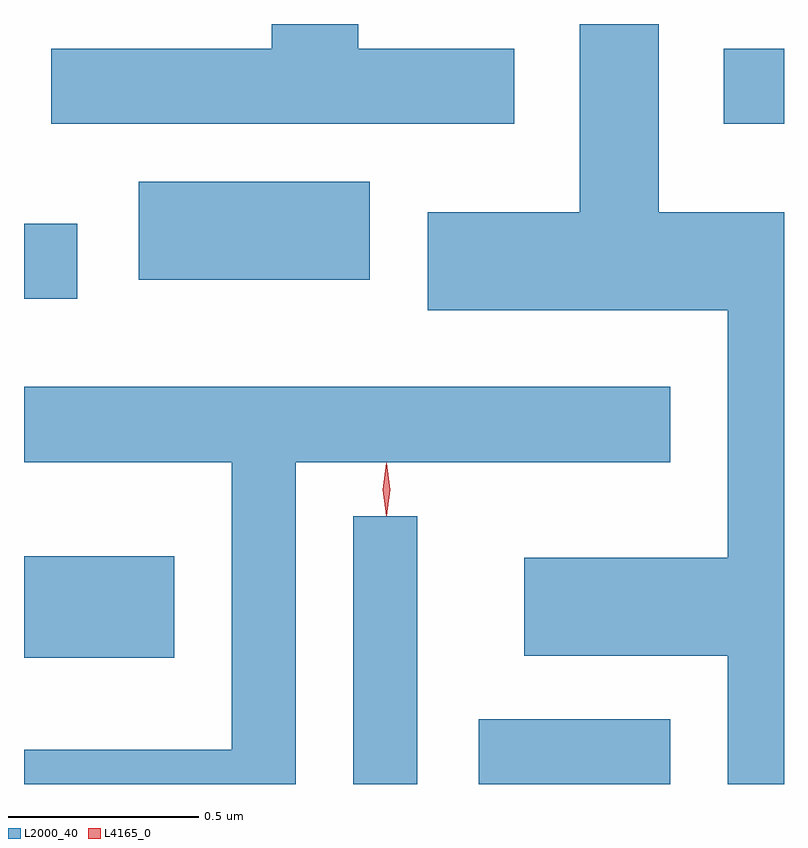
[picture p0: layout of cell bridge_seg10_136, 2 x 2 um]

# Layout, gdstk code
import gdstk
lib = gdstk.Library(unit=1e-6, precision=1e-09)
def R(c, l, rs):  # rectangles x0, y0, x1, y1
    for r in rs: c.add(gdstk.rectangle(r[:2], r[2:], *l))
def P(c, l, *ps):  # polygons
    for p in ps: c.add(gdstk.Polygon(p, *l))
L2000_40 = (2000, 40)
L4165_0 = (4165, 0)

bridge_seg10_136 = lib.new_cell('bridge_seg10_136')
R(bridge_seg10_136, L2000_40, [(1642.481,2141.469,1642.649,2142.173), (1642.811,2141.469,1643.314,2141.639), (1641.614,2141.801,1642.009,2142.069), (1641.614,2142.746,1641.754,2142.944), (1641.916,2142.796,1642.524,2143.054), (1643.456,2143.206,1643.614,2143.404)])
P(bridge_seg10_136, L2000_40, [(1643.614,2142.974),(1643.284,2142.974),(1643.284,2143.469),(1643.076,2143.469),(1643.076,2142.974),(1642.676,2142.974),(1642.676,2142.716),(1643.466,2142.716),(1643.466,2142.064),(1642.931,2142.064),(1642.931,2141.806),(1643.466,2141.806),(1643.466,2141.469),(1643.614,2141.469)],
  [(1642.904,2143.404),(1642.494,2143.404),(1642.494,2143.469),(1642.266,2143.469),(1642.266,2143.404),(1641.686,2143.404),(1641.686,2143.206),(1642.904,2143.206)],
  [(1642.329,2142.316),(1643.314,2142.316),(1643.314,2142.514),(1641.614,2142.514),(1641.614,2142.316),(1642.161,2142.316),(1642.161,2141.559),(1641.614,2141.559),(1641.614,2141.469),(1642.329,2141.469)])
P(bridge_seg10_136, L4165_0, [(1642.567,2142.178),(1642.558,2142.244),(1642.567,2142.311),(1642.568,2142.311),(1642.568,2142.311),(1642.578,2142.244),(1642.568,2142.178),(1642.568,2142.178)],
  [(1642.568,2142.174),(1642.567,2142.175),(1642.558,2142.244),(1642.567,2142.313),(1642.568,2142.314),(1642.568,2142.313),(1642.578,2142.244),(1642.568,2142.175)])

lib.write_gds('bridge_seg10_136.gds')
